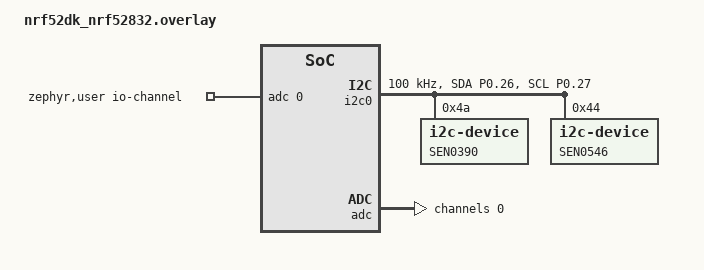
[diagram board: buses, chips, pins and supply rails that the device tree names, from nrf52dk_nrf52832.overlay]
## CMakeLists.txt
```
cmake_minimum_required(VERSION 3.20.0)
find_package(Zephyr REQUIRED HINTS $ENV{ZEPHYR_BASE})

project(spms_ble)

zephyr_include_directories(include)

target_sources(app PRIVATE
    src/main.c
    src/log_store.c
    src/sen0114.c
    src/sen0390.c
    src/sen0546.c
    src/spms_ble.c
    src/spms_sensors.c
)
```

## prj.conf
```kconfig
# ===============================
# Bluetooth
# ===============================
CONFIG_BT=y
CONFIG_BT_PERIPHERAL=y
CONFIG_BT_L2CAP_TX_MTU=64
CONFIG_BT_BUF_ACL_RX_SIZE=68
CONFIG_BT_DEVICE_NAME="SPMS"
CONFIG_BT_DEVICE_APPEARANCE=0
CONFIG_BT_MAX_CONN=1

# ===============================
# ADC (for SEN0114)
# ===============================
CONFIG_ADC=y
CONFIG_ADC_NRFX_SAADC=y

# ===============================
# I2C (for SEN0546 / CHT832X)
# ===============================
CONFIG_I2C=y

# ===============================
# GPIO (for LEDs)
# ===============================
CONFIG_GPIO=y

# ===============================
# Flash + NVS (for log_store)
# ===============================
CONFIG_FLASH=y
CONFIG_FLASH_PAGE_LAYOUT=y
CONFIG_FLASH_MAP=y
CONFIG_NVS=y

# ===============================
# Logging / console
# ===============================
CONFIG_CONSOLE=y
CONFIG_UART_CONSOLE=y
CONFIG_PRINTK=y
CONFIG_LOG=y
CONFIG_LOG_MODE_DEFERRED=y

# ===============================
# Stack sizes
# ===============================
CONFIG_MAIN_STACK_SIZE=2048
CONFIG_SYSTEM_WORKQUEUE_STACK_SIZE=2048
```

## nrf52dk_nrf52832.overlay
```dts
/ {
	zephyr,user {
		io-channels = <&adc 0>;
	};
};

&i2c0 {
    compatible = "nordic,nrf-twim";  /* enable TWIM hardware */
    status = "okay";
    clock-frequency = <I2C_BITRATE_STANDARD>; /* 100 kHz */

    pinctrl-0 = <&i2c0_default>;
    pinctrl-1 = <&i2c0_sleep>;
    pinctrl-names = "default", "sleep";
    
    sen0390: sen0390@4a {
        compatible = "i2c-device";
        reg = <0x4a>;
        label = "SEN0390";
        status = "okay";
    };

    sen0546: sen0546@44 {
        compatible = "i2c-device";
        reg = <0x44>;
        label = "SEN0546";
    };
};

&pinctrl {
    i2c0_default: i2c0_default {
        group1 {
            psels = <NRF_PSEL(TWIM_SDA, 0, 26)>,
                    <NRF_PSEL(TWIM_SCL, 0, 27)>;
        };
    };

    i2c0_sleep: i2c0_sleep {
        group1 {
            psels = <NRF_PSEL(TWIM_SDA, 0, 26)>,
                    <NRF_PSEL(TWIM_SCL, 0, 27)>;
            low-power-enable;
        };
    };
};

&adc {
    #address-cells = <1>;
    #size-cells = <0>;
    status = "okay";

    channel@0 {
        reg = <0>;
        zephyr,gain = "ADC_GAIN_1_6";
        zephyr,reference = "ADC_REF_INTERNAL";      /* 0.6 V on nRF52 */
        zephyr,acquisition-time = <ADC_ACQ_TIME_DEFAULT>;
        zephyr,input-positive = <NRF_SAADC_AIN0>;
        zephyr,resolution = <12>;
    };
};
```

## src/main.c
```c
/**
 * @file
 * @brief Main entry point for the Smart Plant Monitoring System (SPMS).
 *
 * Responsibilities:
 *   - Initialize LEDs, sensors, log storage, plant profile, and BLE stack
 *   - Periodically sample all sensors and evaluate against the plant profile
 *   - Periodically log samples to flash via log_store
 *   - Feed a 1 Hz tick into the BLE layer for notifications
 */

#include <stdint.h>
#include <string.h>

#include <zephyr/kernel.h>
#include <zephyr/logging/log.h>

#include <zephyr/devicetree.h>
#include <zephyr/device.h>
#include <zephyr/drivers/gpio.h>

#include "sen0114.h"
#include "sen0390.h"
#include "sen0546.h"
#include "log_store.h"
#include "spms_ble.h"
#include "spms_sensors.h"

LOG_MODULE_REGISTER(SPMS_MAIN, LOG_LEVEL_INF);

/* ------------------------------------------------------------------------- */
/* Plant profile (loaded from NVS)                                           */
/* ------------------------------------------------------------------------- */

/* Non-static: referenced from spms_ble.c via extern. */
struct plant_profile g_profile;

/* Latest sensor snapshot (for logging + BLE). */
static struct spms_sensor_snapshot g_sensors;

/* ------------------------------------------------------------------------- */
/* LEDs                                                                      */
/* ------------------------------------------------------------------------- */
/*
 * LED1 (board marking) -> led0 alias: connection indicator.
 * LED2 (board marking) -> led1 alias: log flash indicator.
 */

#define LED_CONN_NODE DT_ALIAS(led0)
#define LED_LOG_NODE  DT_ALIAS(led1)

#if !DT_NODE_HAS_STATUS(LED_CONN_NODE, okay)
#error "LED connection alias (led0) not found in devicetree"
#endif

#if !DT_NODE_HAS_STATUS(LED_LOG_NODE, okay)
#error "LED log alias (led1) not found in devicetree"
#endif

static const struct gpio_dt_spec led_conn = GPIO_DT_SPEC_GET(LED_CONN_NODE, gpios);
static const struct gpio_dt_spec led_log  = GPIO_DT_SPEC_GET(LED_LOG_NODE, gpios);

/* ------------------------------------------------------------------------- */
/* Logging helper (once per minute) + LED2 flash                             */
/* ------------------------------------------------------------------------- */

/**
 * @brief Append the current sensor snapshot to flash and blink LED2.
 *
 * Uses g_sensors as the source of data and appends a log_record to NVS via
 * log_store_append(). On success, LED2 is flashed briefly as a visual
 * logging indicator.
 *
 * @return 0 on success, negative errno-style code on failure.
 */
static int log_current_record(void)
{
    struct log_record rec;
    uint16_t key = 0;

    /* Timestamp in seconds (monotonic uptime is sufficient here). */
    rec.ts_s        = (uint32_t)(k_uptime_get() / 1000U);
    rec.t_raw       = g_sensors.temp_c_x100;
    rec.rh_raw      = g_sensors.rh_x100;
    rec.lux_raw     = g_sensors.lux_raw;
    rec.moisture_mv = g_sensors.moisture_mv;

    int rc = log_store_append(&rec, &key);
    if (rc == 0) {
        LOG_INF("Log: stored record at key=0x%04x ts=%u t_raw=%d rh_raw=%d "
                "lux_raw=%u moisture_mv=%d",
                key, rec.ts_s, rec.t_raw, rec.rh_raw,
                (unsigned int)rec.lux_raw, rec.moisture_mv);

        /* Flash LED2 briefly to indicate a log event. */
        gpio_pin_set_dt(&led_log, 1);
        k_sleep(K_MSEC(100));
        gpio_pin_set_dt(&led_log, 0);
    } else {
        LOG_ERR("Log: append failed rc=%d", rc);
    }

    return rc;
}

/* ------------------------------------------------------------------------- */
/* Main                                                                      */
/* ------------------------------------------------------------------------- */

int main(void)
{
    int err;

    LOG_INF("SPMS_REV_0");

    /* Initialize LEDs. */
    if (!device_is_ready(led_conn.port)) {
        LOG_ERR("LED connection port not ready!");
        return 0;
    }
    if (!device_is_ready(led_log.port)) {
        LOG_ERR("LED log port not ready!");
        return 0;
    }

    gpio_pin_configure_dt(&led_conn, GPIO_OUTPUT_INACTIVE);
    gpio_pin_configure_dt(&led_log, GPIO_OUTPUT_INACTIVE);

    /* Initialize sensor subsystem (I2C + basic checks). */
    err = spms_sensors_init();
    if (err) {
        LOG_ERR("spms_sensors_init failed (err %d)", err);
        /* Continue to allow BLE/logging init even if sensors fail. */
    }

    /* Initialize log_store (NVS-backed flash storage). */
    err = log_store_init();
    if (err) {
        LOG_ERR("log_store_init failed (err %d)", err);
        /* Keep running BLE/sensors even if logging is broken. */
    } else {
        size_t cap = log_store_capacity_records(sizeof(struct log_record));
        LOG_INF("log_store initialized, approx capacity ~%u records",
                (unsigned int)cap);
    }

    /* Load or initialize plant profile in NVS. */
    err = plant_profile_load_or_init(&g_profile);
    if (err) {
        LOG_ERR("plant_profile_load_or_init failed (err %d)", err);
    }

    /* Initialize Bluetooth stack + GATT services + advertising. */
    err = spms_ble_init(&led_conn);
    if (err) {
        LOG_ERR("spms_ble_init failed (err %d)", err);
        /* Application could choose to continue without BLE. */
    }

    int seconds_since_sensor = 0;
    int seconds_since_log    = 0;

    while (1) {
        k_sleep(K_SECONDS(1));

        /* Periodic timing. */
        seconds_since_sensor++;
        seconds_since_log++;

        /* Every 5 seconds: read sensors + compare against profile. */
        if (seconds_since_sensor >= 5) {
            seconds_since_sensor = 0;

            err = spms_sensors_update(&g_profile, &g_sensors);
            if (err) {
                LOG_ERR("spms_sensors_update failed (err %d)", err);
            }
        }

        /* Every 60 seconds: log current sample to NVS. */
        if (seconds_since_log >= 60) {
            seconds_since_log = 0;
            log_current_record();
        }

        /* 1 Hz BLE maintenance + notifications using latest sensor values */
        spms_ble_tick_1s(g_sensors.temp_c_x100,
                        g_sensors.rh_x100,
                        g_sensors.lux_est,
                        g_sensors.moisture_mv);

    }

    return 0;
}
```

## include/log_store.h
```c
#ifndef LOG_STORE_H
#define LOG_STORE_H

/**
 * @file
 * @brief Flash-backed log storage and plant profile persistence.
 *
 * This module provides:
 *   - A compact on-flash record format for periodic sensor logs
 *   - An iterator API to walk log records from oldest to newest
 *   - Helpers to format and dump logs for debugging
 *   - Persistent storage of the plant profile in NVS
 */

#include <stdint.h>
#include <stddef.h>

#ifdef __cplusplus
extern "C" {
#endif

/* ------------------------------------------------------------------------- */
/* Plant profile                                                             */
/* ------------------------------------------------------------------------- */

/**
 * @brief Plant profile thresholds stored in NVS.
 *
 * All values use the same units as the sensor conversion routines:
 *   - temp_min_x100 / temp_max_x100      : 0.01 °C
 *   - rh_min_x100 / rh_max_x100          : 0.01 %RH
 *   - moisture_min_mv / moisture_max_mv  : millivolts (from SEN0114)
 *   - lux_min / lux_max                  : estimated lux (int32_t)
 *
 * This structure is stored as-is in NVS via the plant_profile_* API.
 */
struct __attribute__((__packed__)) plant_profile {
    int32_t temp_min_x100;
    int32_t temp_max_x100;

    int32_t rh_min_x100;
    int32_t rh_max_x100;

    int32_t moisture_min_mv;
    int32_t moisture_max_mv;

    int32_t lux_min;
    int32_t lux_max;
};

/* ------------------------------------------------------------------------- */
/* Log records                                                               */
/* ------------------------------------------------------------------------- */

/**
 * @brief Compact on-flash record for periodic sensor logging.
 *
 * This structure is written directly to NVS. It contains:
 *   - Timestamp in seconds since boot or epoch
 *   - Scaled temperature and humidity values
 *   - Raw 32-bit lux reading
 *   - Moisture reading in millivolts
 *
 * Conversion to human-friendly units (°C, %RH, etc.) is typically done
 * at print / decode time.
 */
struct __attribute__((__packed__)) log_record {
    uint32_t ts_s;        /**< Timestamp in seconds */
    int32_t  t_raw;       /**< Temperature scaled (e.g. x0.01 °C) */
    int32_t  rh_raw;      /**< Humidity scaled (e.g. x0.01 %RH) */
    uint32_t lux_raw;     /**< Raw 32-bit lux value */
    int32_t  moisture_mv; /**< Moisture reading in millivolts */
};

/**
 * @brief Iterator for walking log records from oldest to newest.
 *
 * Used with log_iter_begin() and log_iter_next() to traverse the
 * ring-buffer style sequence of log records stored in NVS.
 */
struct log_iter {
    uint16_t cur;      /**< Current key */
    uint16_t end;      /**< Last (most recent) key */
    uint8_t  wrapped;  /**< Internal flag: ring has wrapped at least once */
    uint8_t  started;  /**< Internal flag: iteration has started */
};

/* ------------------------------------------------------------------------- */
/* Log storage API                                                           */
/* ------------------------------------------------------------------------- */

/**
 * @brief Initialize NVS-backed log storage.
 *
 * Locates the "storage" partition via Partition Manager and mounts NVS
 * on top of it. This must be called before any other log_store_* or
 * plant_profile_* API is used.
 *
 * @return 0 on success, negative errno-style code on error.
 */
int log_store_init(void);

/**
 * @brief Compute approximate capacity in number of records.
 *
 * Returns an estimate of how many records of the given size can be stored
 * in the configured NVS partition used for log records.
 *
 * @param record_size Size of each record in bytes
 *                    (typically sizeof(struct log_record)).
 *
 * @return Approximate number of records that can be stored, or -1 on error.
 */
size_t log_store_capacity_records(size_t record_size);

/**
 * @brief Append one log record to flash.
 *
 * Writes a single log_record into NVS, advancing the internal ring-buffer
 * sequence index. If @p out_key is non-NULL, the NVS key used is returned
 * to the caller.
 *
 * @param rec      Pointer to the record to append.
 * @param out_key  Optional pointer to receive the NVS key used.
 *
 * @return 0 on success, negative errno-style code on error.
 */
int log_store_append(const struct log_record *rec, uint16_t *out_key);

/**
 * @brief Read the most recent log record.
 *
 * Reads the newest available record from NVS into @p out. If @p out_key
 * is non-NULL, the corresponding NVS key is also returned.
 *
 * @param out      Pointer to buffer to receive the latest record.
 * @param out_key  Optional pointer to receive the NVS key of the record.
 *
 * @return 0 on success, -ENOENT if no records exist, or another
 *         negative errno-style code on error.
 */
int log_store_read_latest(struct log_record *out, uint16_t *out_key);

/**
 * @brief Read a log record by NVS key.
 *
 * Attempts to read a record stored at the provided NVS key.
 *
 * @param key  NVS key of the record to read.
 * @param out  Pointer to buffer to receive the record.
 *
 * @return 0 on success, -ENOENT if the key does not contain a record,
 *         or another negative errno-style code on error.
 */
int log_store_read_key(uint16_t key, struct log_record *out);

/**
 * @brief Initialize an iterator to walk all records.
 *
 * Prepares @p it to iterate from the oldest valid record to the newest
 * using log_iter_next().
 *
 * @param it Pointer to iterator state to initialize.
 *
 * @return 0 on success, -ENOENT if the log is empty, or negative
 *         errno-style code on error.
 */
int log_iter_begin(struct log_iter *it);

/**
 * @brief Fetch the next record using an iterator.
 *
 * Reads the next available record indicated by @p it. If @p out_key
 * is non-NULL, the NVS key for the returned record is also provided.
 * The iterator automatically skips empty / invalid slots.
 *
 * @param it      Pointer to iterator state.
 * @param out     Pointer to buffer to receive the next record.
 * @param out_key Optional pointer to receive the record's NVS key.
 *
 * @return 0 on success, -ENOENT when no more records are available,
 *         or negative errno-style code on error.
 */
int log_iter_next(struct log_iter *it,
                  struct log_record *out,
                  uint16_t *out_key);

/**
 * @brief Erase and reformat the log storage partition.
 *
 * Deletes all stored log records by erasing the underlying NVS area and
 * resetting internal state.
 *
 * @return 0 on success, negative errno-style code on error.
 */
int log_store_format(void);

/**
 * @brief Format a single log_record into a printf-style line.
 *
 * Converts @p rec and its @p key into a human-readable textual
 * representation suitable for logging or printing.
 *
 * The actual output is implementation-defined but generally includes:
 *   - key
 *   - timestamp
 *   - temperature / humidity
 *   - lux and moisture values
 *
 * @param rec Pointer to the record to format.
 * @param key NVS key corresponding to the record.
 */
void log_store_format_record(const struct log_record *rec, uint16_t key);

/**
 * @brief Dump all log records to stdout using printf.
 *
 * Iterates over the entire log (from oldest to newest) and prints each
 * record via log_store_format_record().
 *
 * @return 0 on success, -ENOENT if no records exist, or another
 *         negative errno-style code on error.
 */
int log_store_dump_to_printf(void);

/* ------------------------------------------------------------------------- */
/* Plant profile API                                                         */
/* ------------------------------------------------------------------------- */

/**
 * @brief Save the plant profile to NVS.
 *
 * Overwrites any previously stored profile with the contents of @p p.
 *
 * @param p Pointer to the plant profile to persist.
 *
 * @return 0 on success, negative errno-style code on error.
 */
int plant_profile_save(const struct plant_profile *p);

/**
 * @brief Load plant profile from NVS.
 *
 * Attempts to read a previously-saved plant profile into @p out.
 *
 * @param out Pointer to buffer to receive the loaded profile.
 *
 * @return 0 on success (profile loaded into @p out);
 *         -ENOENT if no profile has been stored yet;
 *         other negative errno-style code on error.
 */
int plant_profile_load(struct plant_profile *out);

/**
 * @brief Load plant profile, or create and save a default.
 *
 * Tries to load an existing profile via plant_profile_load(). If none
 * exists (-ENOENT), a default profile is created, saved to NVS, and
 * returned via @p out.
 *
 * On successful return, @p out always contains a valid profile.
 *
 * @param out Pointer to buffer to receive the loaded or default profile.
 *
 * @return 0 on success (profile loaded or default created and saved);
 *         negative errno-style code on error (e.g., NVS/flash issues).
 */
int plant_profile_load_or_init(struct plant_profile *out);

#ifdef __cplusplus
}
#endif

#endif /* LOG_STORE_H */
```

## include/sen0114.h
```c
#ifndef SEN0114_H
#define SEN0114_H

/**
 * @file
 * @brief SEN0114 moisture sensor (ADC-based) interface.
 *
 * Provides initialization and one-shot sampling routines for the
 * SEN0114 soil moisture sensor using Zephyr's ADC API.
 */

#include <stdint.h>
#include <zephyr/drivers/adc.h>

#ifdef __cplusplus
extern "C" {
#endif

/**
 * @brief Initialize the ADC channel used by the SEN0114 moisture sensor.
 *
 * This must be called once at startup before any sample is taken.
 * The function configures the ADC channel using `adc_channel_setup_dt()`
 * and performs a sanity-check read to verify communication.
 *
 * @param adc_dt Pointer to the adc_dt_spec for the configured ADC channel.
 * @return 0 on success, negative errno on failure.
 */
int sen0114_init(const struct adc_dt_spec *adc_dt);

/**
 * @brief Read a raw ADC sample from the SEN0114 moisture sensor.
 *
 * Reads a single signed 16-bit ADC conversion result from the sensor's ADC
 * channel using `adc_read_dt()`.
 *
 * @param adc_dt Pointer to the adc_dt_spec for this ADC channel.
 * @param raw    Pointer to store the raw ADC value.
 * @return 0 on success, negative errno on failure.
 */
int query_sen0114_raw(const struct adc_dt_spec *adc_dt, int16_t *raw);

/**
 * @brief Read the current moisture value in millivolts.
 *
 * Reads a raw ADC value and converts it to millivolts using
 * `adc_raw_to_millivolts_dt()`, based on the devicetree configuration
 * (reference voltage, gain, acquisition time, etc.).
 *
 * @param adc_dt Pointer to the adc_dt_spec for this ADC channel.
 * @param mv     Pointer to store the computed moisture level in millivolts.
 * @return 0 on success, negative errno on failure.
 */
int query_sen0114_mv(const struct adc_dt_spec *adc_dt, int *mv);

#ifdef __cplusplus
}
#endif

#endif /* SEN0114_H */
```

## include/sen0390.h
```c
#ifndef SEN0390_H
#define SEN0390_H

/**
 * @file
 * @brief SEN0390 ambient light sensor interface.
 *
 * Declares a minimal API for reading the raw 32-bit light register from
 * the SEN0390 ambient light sensor over I2C, and converting that raw
 * value to an approximate illuminance in lux.
 */

#include <zephyr/device.h>
#include <zephyr/drivers/i2c.h>

#ifdef __cplusplus
extern "C" {
#endif

/**
 * @brief Read a 32-bit raw light value from the SEN0390 sensor.
 *
 * Performs a single I2C transaction to read 4 bytes from the sensor's
 * light value register block (0x00–0x03) and combines them into a
 * 32-bit value.
 *
 * The raw output is sensor-specific and not yet in lux; use
 * sen0390_raw_to_lux() to convert to an approximate lux value.
 *
 * @param i2c     Pointer to I2C device specification (from devicetree).
 * @param lux_raw Output pointer for the 32-bit raw light value.
 *
 * @return 0 on success, negative errno code on failure.
 */
int query_sen0390(const struct i2c_dt_spec *i2c, uint32_t *lux_raw);

/**
 * @brief Convert a raw SEN0390 reading into an estimated lux value.
 *
 * Applies a simple linear calibration between two reference points
 * (R_A → L_A, R_B → L_B) to translate the raw reading from query_sen0390()
 * into an approximate illuminance in lux.
 *
 * The calibration constants are defined in @c sen0390.c and should be
 * tuned using real-world measurements (e.g. a handheld lux meter) for
 * accurate results.
 *
 * @param lux_raw Raw reading returned by query_sen0390().
 * @return Estimated illuminance in lux.
 */
int32_t sen0390_raw_to_lux(uint32_t lux_raw);

#ifdef __cplusplus
}
#endif

#endif /* SEN0390_H */
```

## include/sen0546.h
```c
#ifndef SEN0546_H
#define SEN0546_H

/**
 * @file
 * @brief SEN0546 (CHT832X) temperature and humidity sensor interface.
 *
 * This header declares a minimal one-shot reading API for the SEN0546
 * / CHT832X digital temperature and humidity sensor over I2C.
 */

#include <zephyr/device.h>
#include <zephyr/drivers/i2c.h>

#ifdef __cplusplus
extern "C" {
#endif

/**
 * @brief Perform a one-shot temperature and humidity measurement.
 *
 * Issues a single-measurement command to the SEN0546 / CHT832X sensor and
 * reads back the raw 16-bit temperature and humidity values.
 *
 * The raw values can be converted to engineering units with the formulas
 * from the CHT832X datasheet:
 *
 * - Temperature (°C):
 *     T = -45 + 175 * (temp_raw / 65535.0)
 * - Relative humidity (%RH):
 *     RH = 100 * (rh_raw / 65535.0)
 *
 * @param i2c      Pointer to I2C device specification (from devicetree).
 * @param temp_raw Pointer to store the 16-bit raw temperature value.
 * @param rh_raw   Pointer to store the 16-bit raw humidity value.
 *
 * @return 0 on success, negative errno-style code on failure.
 */
int query_sen0546(const struct i2c_dt_spec *i2c,
                  uint16_t *temp_raw,
                  uint16_t *rh_raw);

#ifdef __cplusplus
}
#endif

#endif /* SEN0546_H */
```

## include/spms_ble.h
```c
#ifndef SPMS_BLE_H
#define SPMS_BLE_H

/**
 * @file
 * @brief Bluetooth interface for the Smart Plant Monitoring System (SPMS).
 *
 * This module initializes the Bluetooth stack, registers all SPMS GATT
 * services, and provides periodic maintenance for notifications.
 *
 * It exposes:
 *   - A debug characteristic (optional notifications)
 *   - Temperature and humidity characteristics (notify when subscribed)
 *   - Plant profile update characteristic (write from phone app)
 *
 * The module also supports an optional connection-indicator LED.
 */

#include <stdint.h>
#include <zephyr/drivers/gpio.h>

#ifdef __cplusplus
extern "C" {
#endif

/**
 * @brief Initialize Bluetooth and all SPMS GATT services.
 *
 * This routine:
 *   - Enables the Zephyr Bluetooth stack
 *   - Registers the main SPMS service (debug, temperature, humidity)
 *   - Registers the plant profile GATT service
 *   - Starts advertising with the configured device name
 *   - Optionally manages a connection-status LED
 *
 * @param conn_led Pointer to a GPIO DT descriptor for a connection LED.
 *                 May be NULL if no connection LED is desired.
 *
 * @return 0 on success, negative errno-style code on failure.
 */
int spms_ble_init(const struct gpio_dt_spec *conn_led);

/**
 * @brief Periodic 1 Hz BLE maintenance.
 *
 * Call this once per second from the main loop. It:
 *   - Updates cached sensor values used by GATT reads
 *   - Increments a debug counter and sends notifications if enabled
 *   - Notifies the latest sensor values if the client has
 *     subscribed to those characteristics.
 *
 * @param temp_c_x100 Latest temperature in 0.01 °C units.
 * @param rh_x100     Latest relative humidity in 0.01 %RH units.
 * @param lux_est     Latest estimated illuminance in lux.
 * @param moisture_mv Latest soil moisture in millivolts.
 */
void spms_ble_tick_1s(int16_t  temp_c_x100,
                      uint16_t rh_x100,
                      int32_t  lux_est,
                      int32_t  moisture_mv);

#ifdef __cplusplus
}
#endif

#endif /* SPMS_BLE_H */
```

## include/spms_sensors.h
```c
#ifndef SPMS_SENSORS_H
#define SPMS_SENSORS_H

/**
 * @file
 * @brief Unified sensor subsystem for the SPMS project.
 *
 * Provides initialization and update routines for all sensors in the
 * Smart Plant Monitoring System, including:
 *   - SEN0390 ambient light sensor
 *   - SEN0546 (CHT832X) temperature and humidity sensor
 *   - SEN0114 moisture sensor (ADC-based)
 *
 * The subsystem maintains a filtered light value, performs unit
 * conversions, and optionally evaluates readings against a stored
 * plant profile.
 */

#include <stdint.h>
#include "log_store.h"   /* For struct plant_profile */

#ifdef __cplusplus
extern "C" {
#endif

/**
 * @brief Snapshot of the latest processed sensor readings.
 *
 * All values are expressed in engineering units suitable for logging,
 * BLE transmission, and plant-profile comparisons.
 */
struct spms_sensor_snapshot {
    int16_t  temp_c_x100;     /**< Temperature in 0.01 °C units */
    uint16_t rh_x100;         /**< Relative humidity in 0.01 %RH units */
    uint32_t lux_raw;         /**< Raw lux code from the SEN0390 sensor */
    uint32_t lux_filtered;    /**< Low-pass filtered lux value */
    int32_t  lux_est;         /**< Estimated illuminance in lux */
    int32_t  moisture_mv;     /**< Moisture reading in millivolts */
};

/**
 * @brief Initialize the sensor subsystem.
 *
 * This routine:
 *   - Binds all sensors from devicetree
 *   - Verifies that the I2C buses and peripheral devices are ready
 *   - Initializes the SEN0114 ADC channel
 *   - Resets internal filtering state
 *
 * @return 0 on success, negative errno-style code on failure.
 */
int spms_sensors_init(void);

/**
 * @brief Read all sensors, update internal filtering, and generate a snapshot.
 *
 * This routine:
 *   - Reads the SEN0390 ambient light sensor
 *   - Updates the low-pass filtered lux value
 *   - Reads temperature & humidity from the SEN0546 sensor
 *   - Converts sensor data into engineering units
 *   - Estimates lux using sen0390_raw_to_lux()
 *   - Reads soil moisture from the SEN0114 ADC sensor
 *   - Populates the provided snapshot struct
 *   - Compares readings against the given plant profile, if provided
 *
 * @param profile Pointer to plant profile thresholds. May be NULL to skip checks.
 * @param out     Pointer to the snapshot struct to populate.
 *
 * @return 0 on success, negative errno-style code on failure.
 */
int spms_sensors_update(const struct plant_profile *profile,
                        struct spms_sensor_snapshot *out);

#ifdef __cplusplus
}
#endif

#endif /* SPMS_SENSORS_H */
```

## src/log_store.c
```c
/**
 * @file
 * @brief NVS-backed log storage and plant profile persistence.
 *
 * This module:
 *   - Uses Zephyr's NVS on the "storage" partition to store sequential
 *     log_record entries in a ring buffer.
 *   - Persists a small plant_profile struct for threshold settings.
 *   - Provides an iterator for walking records from oldest to newest.
 *   - Offers helper functions to dump records for debugging.
 */

#include <zephyr/kernel.h>
#include <zephyr/fs/nvs.h>
#include <zephyr/storage/flash_map.h>
#include <zephyr/device.h>
#include <zephyr/devicetree.h>
#include <string.h>
#include <stdio.h>
#include <inttypes.h>
#include <zephyr/logging/log.h>

#include "log_store.h"

LOG_MODULE_REGISTER(LOG_STORE, LOG_LEVEL_INF);

/* ------------------------------------------------------------------------- */
/* Configuration                                                             */
/* ------------------------------------------------------------------------- */

/* nRF52 internal flash erase page is 4096 bytes. Keep NVS sector aligned. */
#define NVS_SECTOR_SIZE_DEFAULT   4096U

/*
 * Sequencing:
 *   - Latest sequence number is stored at KEY_SEQ.
 *   - Each record is written at key = seq (0x0100..0x7FFF).
 *   - On overflow, we wrap to 0x0100 and set a wrap flag in NVS.
 */
#define KEY_SEQ            0x0001
#define KEY_WRAP_FLAG      0x0002
#define KEY_MIN_DATA       0x0100
#define KEY_MAX_DATA       0x7FFF

/* Single plant profile stored as a blob. */
#define KEY_PLANT_PROFILE  0x0003

/* ------------------------------------------------------------------------- */
/* State                                                                     */
/* ------------------------------------------------------------------------- */

struct log_store {
    struct nvs_fs nvs;
    struct k_mutex lock;
    uint16_t last_seq;     /* Latest sequence persisted (0 means none yet). */
    bool     wrapped;      /* True if we have wrapped at least once. */

    size_t part_size;
    size_t sector_size;
    size_t sector_count;
};

static struct log_store g_ls;

/* ------------------------------------------------------------------------- */
/* Internal helpers                                                          */
/* ------------------------------------------------------------------------- */

/* Persist/restore small values (u16) in NVS. */
static int persist_u16(struct nvs_fs *n, uint16_t key, uint16_t v)
{
    return nvs_write(n, key, &v, sizeof(v));
}

static int read_u16(struct nvs_fs *n, uint16_t key, uint16_t *out)
{
    int rc = nvs_read(n, key, out, sizeof(*out));
    if (rc == sizeof(*out)) {
        return 0;
    }
    return (rc < 0) ? rc : -ENOENT;
}

/* Compute a data key from a sequence value, wrapping into the data range. */
static uint16_t seq_to_key(uint16_t seq)
{
    if (seq < KEY_MIN_DATA) {
        return KEY_MIN_DATA + (seq % (KEY_MAX_DATA - KEY_MIN_DATA + 1));
    }

    if (seq > KEY_MAX_DATA) {
        uint32_t span = (KEY_MAX_DATA - KEY_MIN_DATA + 1);
        return KEY_MIN_DATA + ((seq - KEY_MIN_DATA) % span);
    }

    return seq;
}

struct log_store *log_store_get(void)
{
    return &g_ls;
}

/* Advance to the next sequence/key. Must be called with ls->lock held. */
static int advance_sequence_locked(struct log_store *ls,
                                   uint16_t *out_seq,
                                   uint16_t *out_key)
{
    /* Next sequence; handle wrap back into data range. */
    uint32_t next = (ls->last_seq == 0)
                    ? (KEY_MIN_DATA)
                    : (ls->last_seq + 1);

    if (next > KEY_MAX_DATA) {
        next = KEY_MIN_DATA;
        ls->wrapped = true;
        (void)persist_u16(&ls->nvs, KEY_WRAP_FLAG, 1);
    }

    uint16_t key = seq_to_key((uint16_t)next);

    /* Persist the new last sequence. */
    int rc = persist_u16(&ls->nvs, KEY_SEQ, (uint16_t)next);
    if (rc < 0) {
        return rc;
    }

    ls->last_seq = (uint16_t)next;

    if (out_seq) {
        *out_seq = (uint16_t)next;
    }
    if (out_key) {
        *out_key = key;
    }

    return 0;
}

/* Iterator helpers. */
static uint16_t iter_first_key(struct log_store *ls)
{
    if (!ls->last_seq) {
        return 0;
    }

    if (!ls->wrapped) {
        /* No wrap: first record is at KEY_MIN_DATA. */
        return KEY_MIN_DATA;
    } else {
        /*
         * Wrapped: oldest record is one past last_seq
         * (wrapped back into range if needed).
         */
        uint16_t first_seq = ls->last_seq + 1;
        if (first_seq > KEY_MAX_DATA) {
            first_seq = KEY_MIN_DATA;
        }
        return seq_to_key(first_seq);
    }
}

static uint16_t key_advance(uint16_t k)
{
    return (k >= KEY_MAX_DATA) ? KEY_MIN_DATA : (uint16_t)(k + 1);
}

/* ------------------------------------------------------------------------- */
/* Initialization                                                            */
/* ------------------------------------------------------------------------- */

int log_store_init(void)
{
    struct log_store *ls = &g_ls;
    int rc;

    k_mutex_init(&ls->lock);

    const struct device *flash_dev =
        DEVICE_DT_GET(DT_CHOSEN(zephyr_flash_controller));
    if (!device_is_ready(flash_dev)) {
        return -ENODEV;
    }

    const struct flash_area *fa;
    rc = flash_area_open(FIXED_PARTITION_ID(storage), &fa);
    if (rc) {
        return rc;
    }

    ls->part_size    = fa->fa_size;
    ls->sector_size  = NVS_SECTOR_SIZE_DEFAULT;
    ls->sector_count = ls->part_size / ls->sector_size;

    ls->nvs.flash_device = flash_dev;
    ls->nvs.offset       = fa->fa_off;
    ls->nvs.sector_size  = ls->sector_size;
    ls->nvs.sector_count = ls->sector_count;

    rc = nvs_mount(&ls->nvs);
    flash_area_close(fa);
    if (rc) {
        return rc;
    }

    /* Restore persisted sequence/wrap state (if they exist). */
    uint16_t v = 0;
    rc = read_u16(&ls->nvs, KEY_SEQ, &v);
    ls->last_seq = (rc == 0) ? v : 0;

    uint16_t w = 0;
    rc = read_u16(&ls->nvs, KEY_WRAP_FLAG, &w);
    ls->wrapped = (rc == 0 && w == 1);

    return 0;
}

/* ------------------------------------------------------------------------- */
/* Core log storage API                                                      */
/* ------------------------------------------------------------------------- */

int log_store_append(const struct log_record *rec, uint16_t *out_key)
{
    if (!rec) {
        return -EINVAL;
    }

    struct log_store *ls = &g_ls;
    int rc;
    uint16_t key;

    k_mutex_lock(&ls->lock, K_FOREVER);
    rc = advance_sequence_locked(ls, NULL, &key);

    if (rc == 0) {
        rc = nvs_write(&ls->nvs, key, rec, sizeof(*rec));
        if (rc == (int)sizeof(*rec)) {
            rc = 0;
        }
    }

    k_mutex_unlock(&ls->lock);

    if (rc == 0 && out_key) {
        *out_key = key;
    }

    return rc;
}

int log_store_read_latest(struct log_record *out, uint16_t *out_key)
{
    struct log_store *ls = &g_ls;
    if (ls->last_seq == 0) {
        return -ENOENT;
    }

    uint16_t key = seq_to_key(ls->last_seq);
    int rc = nvs_read(&ls->nvs, key, out, sizeof(*out));
    if (rc == (int)sizeof(*out)) {
        if (out_key) {
            *out_key = key;
        }
        return 0;
    }

    return (rc < 0) ? rc : -ENOENT;
}

int log_store_read_key(uint16_t key, struct log_record *out)
{
    struct log_store *ls = &g_ls;
    int rc = nvs_read(&ls->nvs, key, out, sizeof(*out));
    return (rc == (int)sizeof(*out)) ? 0 : ((rc < 0) ? rc : -ENOENT);
}

/* ------------------------------------------------------------------------- */
/* Iteration over stored records                                             */
/* ------------------------------------------------------------------------- */

int log_iter_begin(struct log_iter *it)
{
    if (!it) {
        return -EINVAL;
    }

    struct log_store *ls = &g_ls;

    if (ls->last_seq == 0) {
        return -ENOENT;
    }

    it->cur     = iter_first_key(ls);
    it->end     = seq_to_key(ls->last_seq);
    it->wrapped = ls->wrapped ? 1 : 0;
    it->started = 0;

    return 0;
}

int log_iter_next(struct log_iter *it,
                  struct log_record *out,
                  uint16_t *out_key)
{
    if (!it || !out) {
        return -EINVAL;
    }

    /* If we've already started and advanced past the end, we're done. */
    if (it->started && it->cur == key_advance(it->end)) {
        return -ENOENT;
    }

    it->started = 1;

    /*
     * Read at current key; it's okay if gaps exist (e.g. power-off windows).
     * We transparently skip empty/unreadable slots.
     */
    struct log_store *ls = &g_ls;

    while (1) {
        int rc           = nvs_read(&ls->nvs, it->cur, out, sizeof(*out));
        uint16_t thisKey = it->cur;

        if (thisKey == key_advance(it->end)) {
            return -ENOENT; /* Reached end after attempting read. */
        }

        it->cur = key_advance(it->cur);

        if (rc == (int)sizeof(*out)) {
            if (out_key) {
                *out_key = thisKey;
            }
            return 0;
        }

        /* If slot empty/unreadable, continue to next key. */
    }
}

/* ------------------------------------------------------------------------- */
/* Formatting / administrative helpers                                       */
/* ------------------------------------------------------------------------- */

int log_store_format(void)
{
    struct log_store *ls = &g_ls;
    int rc;

    k_mutex_lock(&ls->lock, K_FOREVER);
    rc = nvs_clear(&ls->nvs);
    if (rc == 0) {
        ls->last_seq = 0;
        ls->wrapped  = false;
        (void)persist_u16(&ls->nvs, KEY_WRAP_FLAG, 0);
    }
    k_mutex_unlock(&ls->lock);

    return rc;
}

size_t log_store_capacity_records(size_t record_size)
{
    struct log_store *ls = &g_ls;
    if (ls->part_size == 0) {
        return 0;
    }

    /* NVS has metadata and GC overhead; conservatively use ~70% for payload. */
    size_t usable = (ls->part_size * 70) / 100;

    /* Empirical per-record overhead in NVS is small but non-zero; budget ~16 B. */
    size_t per = record_size + 16U;

    return (per == 0) ? 0 : (usable / per);
}

/* ------------------------------------------------------------------------- */
/* Plant profile persistence                                                 */
/* ------------------------------------------------------------------------- */

int plant_profile_save(const struct plant_profile *p)
{
    if (!p) {
        return -EINVAL;
    }

    struct log_store *ls = &g_ls;
    int rc;

    k_mutex_lock(&ls->lock, K_FOREVER);

    rc = nvs_write(&ls->nvs, KEY_PLANT_PROFILE, p, sizeof(*p));
    if (rc == (int)sizeof(*p)) {
        rc = 0;
    } else if (rc >= 0) {
        rc = -EIO;    /* Short write. */
    }

    k_mutex_unlock(&ls->lock);
    return rc;
}

int plant_profile_load(struct plant_profile *out)
{
    if (!out) {
        return -EINVAL;
    }

    struct log_store *ls = &g_ls;

    int rc = nvs_read(&ls->nvs, KEY_PLANT_PROFILE, out, sizeof(*out));
    if (rc == (int)sizeof(*out)) {
        return 0;
    }

    return (rc < 0) ? rc : -ENOENT;
}

/* Weak hook: application can override this to pretty-print records. */
__attribute__((weak))
void log_store_format_record(const struct log_record *rec, uint16_t key)
{
    const uint8_t *p = (const uint8_t *)rec;

    /* Build the hex dump into a local buffer, then log once. */
    char buf[128];
    int pos = 0;

    pos += snprintk(buf + pos, sizeof(buf) - pos,
                    "key=0x%04X data=", key);

    for (size_t i = 0; i < sizeof(*rec) && pos < (int)sizeof(buf); i++) {
        pos += snprintk(buf + pos, sizeof(buf) - pos,
                        "%02X", p[i]);
    }

    LOG_INF("%s", buf);
}

int log_store_dump_to_printf(void)
{
    struct log_iter   it;
    struct log_record rec;
    uint16_t          key;
    int               rc;

    rc = log_iter_begin(&it);
    if (rc) {
        LOG_INF("log_store: no records (rc=%d)", rc);
        return rc;
    }

    int count = 0;
    while ((rc = log_iter_next(&it, &rec, &key)) == 0) {
        log_store_format_record(&rec, key);
        ++count;
    }

    LOG_INF("log_store: %d record(s)", count);
    return (count > 0) ? count : -ENOENT;
}

/* ------------------------------------------------------------------------- */
/* Plant profile load-or-init helper                                         */
/* ------------------------------------------------------------------------- */

int plant_profile_load_or_init(struct plant_profile *out)
{
    if (!out) {
        return -EINVAL;
    }

    int rc = plant_profile_load(out);
    if (rc == 0) {
        LOG_INF("Plant profile loaded from NVS:");
        LOG_INF("  Temp:   %d..%d (0.01 C)",
                out->temp_min_x100, out->temp_max_x100);
        LOG_INF("  RH:     %d..%d (0.01 %%RH)",
                out->rh_min_x100, out->rh_max_x100);
        LOG_INF("  Moist:  %d..%d mV",
                out->moisture_min_mv, out->moisture_max_mv);
        LOG_INF("  Lux:    %d..%d",
                out->lux_min, out->lux_max);
        return 0;
    }

    LOG_WRN("No plant profile in NVS (rc=%d). Initializing defaults.", rc);

    /* Example generic "house plant" defaults. */
    out->temp_min_x100   = 1800;   /* 18.00 °C */
    out->temp_max_x100   = 2800;   /* 28.00 °C */

    out->rh_min_x100     = 4000;   /* 40.00 %RH */
    out->rh_max_x100     = 7000;   /* 70.00 %RH */

    out->moisture_min_mv = 1000;
    out->moisture_max_mv = 3000;

    out->lux_min         = 500;
    out->lux_max         = 30000;

    rc = plant_profile_save(out);
    if (rc == 0) {
        LOG_INF("Default plant profile saved to NVS.");
    } else {
        LOG_ERR("Failed to save default plant profile (rc=%d)", rc);
    }

    return rc;
}
```

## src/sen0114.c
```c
/**
 * @file
 * @brief SEN0114 moisture sensor (ADC-based) implementation.
 *
 * Provides initialization and sampling routines for the SEN0114 moisture
 * sensor using Zephyr's ADC device-tree helpers.
 */

#include <zephyr/kernel.h>
#include <zephyr/device.h>
#include <zephyr/drivers/adc.h>
#include <zephyr/logging/log.h>

#include "sen0114.h"

LOG_MODULE_REGISTER(SEN0114, LOG_LEVEL_INF);

/* ------------------------------------------------------------------------- */
/* Initialization                                                            */
/* ------------------------------------------------------------------------- */

int sen0114_init(const struct adc_dt_spec *adc_dt)
{
    int err;
    struct adc_sequence sequence = { 0 };
    int16_t dummy_buf;  /* Minimal buffer required by adc_sequence_init_dt() */

    if (adc_dt == NULL) {
        return -EINVAL;
    }

    if (!device_is_ready(adc_dt->dev)) {
        LOG_ERR("Moisture: ADC device not ready");
        return -ENODEV;
    }

    err = adc_channel_setup_dt(adc_dt);
    if (err < 0) {
        LOG_ERR("Moisture: adc_channel_setup_dt failed (err %d)", err);
        return err;
    }

    err = adc_sequence_init_dt(adc_dt, &sequence);
    if (err < 0) {
        LOG_ERR("Moisture: adc_sequence_init_dt failed (err %d)", err);
        return err;
    }

    sequence.buffer      = &dummy_buf;
    sequence.buffer_size = sizeof(dummy_buf);

    /* Optional sanity-check read to validate the configuration. */
    err = adc_read_dt(adc_dt, &sequence);
    if (err < 0) {
        LOG_ERR("Moisture: initial adc_read_dt failed (err %d)", err);
        return err;
    }

    LOG_INF("Moisture: ADC channel initialized");
    return 0;
}

/* ------------------------------------------------------------------------- */
/* Raw reading                                                               */
/* ------------------------------------------------------------------------- */

int query_sen0114_raw(const struct adc_dt_spec *adc_dt, int16_t *raw)
{
    int err;
    struct adc_sequence sequence = { 0 };

    if ((adc_dt == NULL) || (raw == NULL)) {
        return -EINVAL;
    }

    err = adc_sequence_init_dt(adc_dt, &sequence);
    if (err < 0) {
        LOG_ERR("Moisture: adc_sequence_init_dt failed (err %d)", err);
        return err;
    }

    sequence.buffer      = raw;
    sequence.buffer_size = sizeof(*raw);

    err = adc_read_dt(adc_dt, &sequence);
    if (err < 0) {
        LOG_ERR("Moisture: adc_read_dt failed (err %d)", err);
        return err;
    }

    return 0;
}

/* ------------------------------------------------------------------------- */
/* Millivolt conversion                                                      */
/* ------------------------------------------------------------------------- */

int query_sen0114_mv(const struct adc_dt_spec *adc_dt, int *mv)
{
    int err;
    int16_t raw;
    int val_mv;

    if ((adc_dt == NULL) || (mv == NULL)) {
        return -EINVAL;
    }

    err = query_sen0114_raw(adc_dt, &raw);
    if (err < 0) {
        LOG_ERR("Moisture: query_sen0114_raw failed (err %d)", err);
        return err;
    }

    val_mv = (int)raw;

    err = adc_raw_to_millivolts_dt(adc_dt, &val_mv);
    if (err < 0) {
        LOG_ERR("Moisture: adc_raw_to_millivolts_dt failed (err %d)", err);
        return err;
    }

    *mv = val_mv;
    return 0;
}
```

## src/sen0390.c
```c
/**
 * @file
 * @brief SEN0390 ambient light sensor implementation.
 *
 * Provides raw 32-bit light readings via I2C and applies a simple
 * linear two-point calibration (defined in this file) to estimate
 * illuminance in lux. The caller may refine calibration constants
 * after collecting real measurements.
 */

#include "sen0390.h"
#include <zephyr/kernel.h>
#include <zephyr/logging/log.h>
#include <errno.h>

LOG_MODULE_REGISTER(SEN0390, LOG_LEVEL_INF);

/* ------------------------------------------------------------------------- */
/* Calibration constants (placeholder — tune with real measurements)         */
/* ------------------------------------------------------------------------- */

/*
 * L_A / L_B are lux estimates at reference points.
 * R_A / R_B are corresponding raw counts measured at those lux levels.
 *
 * These initial values produce a reasonable mapping shape for development.
 * Replace with measured values once you have a proper lux meter.
 */
static const int32_t  L_A = 10;        /* Low-light lux reference */
static const int32_t  L_B = 20000;     /* High-light lux reference */

static const uint32_t R_A = 1100U;     /* Raw count at low light */
static const uint32_t R_B = 50000U;    /* Raw count at high light */

/* Maximum valid raw value (device uses up to 24 bits) */
#define SEN0390_RAW_MAX_VALID  (0x00FFFFFFU)

/* ------------------------------------------------------------------------- */
/* Raw I2C reading                                                           */
/* ------------------------------------------------------------------------- */

int query_sen0390(const struct i2c_dt_spec *i2c, uint32_t *lux_raw)
{
    uint8_t reg_addr = 0x00;   /* Start of 4-byte illumination register block */
    uint8_t buf[4];
    int ret;

    if (lux_raw == NULL) {
        LOG_ERR("SEN0390: lux_raw pointer is NULL");
        return -EINVAL;
    }

    if (!device_is_ready(i2c->bus)) {
        LOG_ERR("SEN0390: I2C bus %s not ready!", i2c->bus->name);
        return -ENODEV;
    }

    /* Write starting register address, then read 4 bytes. */
    ret = i2c_write_read_dt(i2c, &reg_addr, 1, buf, sizeof(buf));
    if (ret < 0) {
        LOG_ERR("SEN0390: i2c_write_read_dt failed: addr=0x%02x err=%d",
                i2c->addr, ret);
        return ret;
    }

    LOG_DBG("SEN0390 raw bytes: %02x %02x %02x %02x",
            buf[0], buf[1], buf[2], buf[3]);

    /*
     * Byte layout:
     *   buf[0] = LSB (D07..D00)
     *   buf[1] =       (D15..D08)
     *   buf[2] =       (D23..D16)
     *   buf[3] = MSB   (D31..D24)
     *
     * Device uses only 24 bits; upper byte is typically 0.
     */
    *lux_raw = ((uint32_t)buf[0] << 0)  |
               ((uint32_t)buf[1] << 8)  |
               ((uint32_t)buf[2] << 16) |
               ((uint32_t)buf[3] << 24);

    return 0;
}

/* ------------------------------------------------------------------------- */
/* Calibration: raw -> estimated lux                                         */
/* ------------------------------------------------------------------------- */

int32_t sen0390_raw_to_lux(uint32_t lux_raw)
{
    /* Clamp invalid values */
    if (lux_raw > SEN0390_RAW_MAX_VALID) {
        lux_raw = SEN0390_RAW_MAX_VALID;
    }

    /*
     * 2-point linear interpolation:
     *     y = L_A + (L_B - L_A) * (x - R_A) / (R_B - R_A)
     */
    int32_t num   = (int32_t)lux_raw - (int32_t)R_A;
    int32_t denom = (int32_t)R_B - (int32_t)R_A;

    if (denom == 0) {
        return L_A; /* Avoid divide-by-zero; degenerate calibration */
    }

    int32_t est = L_A + ((L_B - L_A) * num) / denom;

    if (est < 0) {
        est = 0;
    }

    return est;
}
```

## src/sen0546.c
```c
/**
 * @file
 * @brief SEN0546 / CHT832X temperature and humidity one-shot reader.
 *
 * Implements a simple one-shot measurement command (0x2C 0x06),
 * reads back 16-bit temperature and humidity values, and returns them
 * in raw form. Conversion to engineering units (°C, %RH) is handled
 * by the caller using the datasheet formulas.
 */

#include "sen0546.h"
#include <zephyr/kernel.h>
#include <zephyr/logging/log.h>

LOG_MODULE_REGISTER(SEN0546, LOG_LEVEL_INF);

int query_sen0546(const struct i2c_dt_spec *i2c,
                  uint16_t *temp_raw,
                  uint16_t *rh_raw)
{
    uint8_t cmd[2]     = { 0x2C, 0x06 }; /* One-shot measurement command */
    uint8_t read_buf[6];
    int ret;

    if (!device_is_ready(i2c->bus)) {
        LOG_ERR("SEN0546: I2C bus %s not ready!", i2c->bus->name);
        return -ENODEV;
    }

    /* Write opcode, then read 6 bytes (T_hi, T_lo, T_CRC, RH_hi, RH_lo, RH_CRC). */
    ret = i2c_write_read_dt(i2c, cmd, sizeof(cmd),
                            read_buf, sizeof(read_buf));
    if (ret < 0) {
        LOG_ERR("SEN0546: i2c_write_read_dt failed (addr=0x%02x, err=%d)",
                i2c->addr, ret);
        return ret;
    }

    /* Extract raw data; CRC bytes are ignored. */
    *temp_raw = ((uint16_t)read_buf[0] << 8) | read_buf[1];
    *rh_raw   = ((uint16_t)read_buf[3] << 8) | read_buf[4];

    return 0;
}
```
